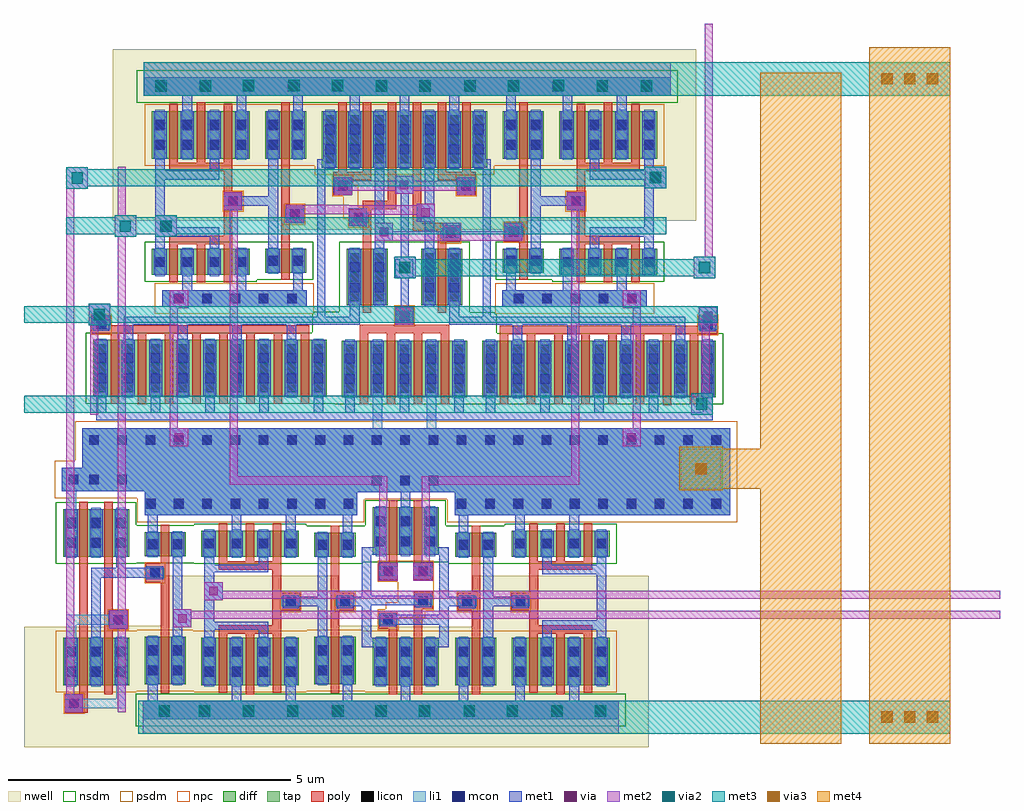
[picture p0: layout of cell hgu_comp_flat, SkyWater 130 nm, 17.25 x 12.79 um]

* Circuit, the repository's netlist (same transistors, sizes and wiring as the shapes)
** sch_path: /foss/designs/hgu_goss/hgu/xschem/hgu_comp.sch
.subckt hgu_comp cdac_vn cdac_vp VSS VDD clk ready comp_outp comp_outn
*.PININFO cdac_vn:I cdac_vp:I VSS:I VDD:I clk:I ready:O comp_outp:O comp_outn:O
XM1 net1 clk VSS VSS sky130_fd_pr__nfet_01v8 L=0.15 W=4 nf=4 m=1
XM4 Y X Q VSS sky130_fd_pr__nfet_01v8 L=0.15 W=1 nf=1 m=1
XM5 X Y P VSS sky130_fd_pr__nfet_01v8 L=0.15 W=1 nf=1 m=1
XM6 X Y VDD VDD sky130_fd_pr__pfet_01v8 L=0.15 W=1 nf=1 m=1
XM7 Y X VDD VDD sky130_fd_pr__pfet_01v8 L=0.15 W=1 nf=1 m=1
XM8 X clk VDD VDD sky130_fd_pr__pfet_01v8 L=0.15 W=1 nf=1 m=1
XM9 P clk VDD VDD sky130_fd_pr__pfet_01v8 L=0.15 W=1 nf=1 m=1
XM10 Y clk VDD VDD sky130_fd_pr__pfet_01v8 L=0.15 W=1 nf=1 m=1
XM11 Q clk VDD VDD sky130_fd_pr__pfet_01v8 L=0.15 W=1 nf=1 m=1
XM16 RS_n RS_p VDD VDD sky130_fd_pr__pfet_01v8 L=0.15 W=0.84 nf=1 m=1
XM17 RS_p RS_n VDD VDD sky130_fd_pr__pfet_01v8 L=0.15 W=0.84 nf=1 m=1
XM19 RS_p Y_inv VSS VSS sky130_fd_pr__nfet_01v8 L=0.15 W=0.84 nf=1 m=1
XM23 RS_n X_inv VSS VSS sky130_fd_pr__nfet_01v8 L=0.15 W=0.84 nf=1 m=1
XM2 P cdac_vp net1 VSS sky130_fd_pr__nfet_01v8 L=0.15 W=8 nf=8 m=1
XM3 Q cdac_vn net1 VSS sky130_fd_pr__nfet_01v8 L=0.15 W=8 nf=8 m=1
XM12 X_inv X VDD VDD sky130_fd_pr__pfet_01v8 L=0.15 W=0.84 nf=1 m=1
XM13 X_inv X VSS VSS sky130_fd_pr__nfet_01v8 L=0.15 W=0.42 nf=1 m=1
XM14 X_drive X_inv VDD VDD sky130_fd_pr__pfet_01v8 L=0.15 W=2.52 nf=3 m=1
XM15 X_drive X_inv VSS VSS sky130_fd_pr__nfet_01v8 L=0.15 W=1.38 nf=3 m=1
XM18 Y_inv Y VDD VDD sky130_fd_pr__pfet_01v8 L=0.15 W=0.84 nf=1 m=1
XM20 Y_inv Y VSS VSS sky130_fd_pr__nfet_01v8 L=0.15 W=0.42 nf=1 m=1
XM21 Y_drive Y_inv VDD VDD sky130_fd_pr__pfet_01v8 L=0.15 W=2.52 nf=3 m=1
XM22 Y_drive Y_inv VSS VSS sky130_fd_pr__nfet_01v8 L=0.15 W=1.38 nf=3 m=1
XM24 net2 Y_drive X_drive VDD sky130_fd_pr__pfet_01v8 L=0.15 W=0.84 nf=1 m=1
XM25 net2 X_drive Y_drive VDD sky130_fd_pr__pfet_01v8 L=0.15 W=0.84 nf=1 m=1
XM26 net2 Y_drive net3 VSS sky130_fd_pr__nfet_01v8 L=0.15 W=0.84 nf=1 m=1
XM27 net3 X_drive VSS VSS sky130_fd_pr__nfet_01v8 L=0.15 W=0.84 nf=1 m=1
XM28 ready net2 VDD VDD sky130_fd_pr__pfet_01v8 L=0.15 W=0.84 nf=1 m=1
XM29 ready net2 VSS VSS sky130_fd_pr__nfet_01v8 L=0.15 W=0.42 nf=1 m=1
XM30 net4 RS_p VDD VDD sky130_fd_pr__pfet_01v8 L=0.15 W=0.84 nf=1 m=1
XM31 net4 RS_p VSS VSS sky130_fd_pr__nfet_01v8 L=0.15 W=0.42 nf=1 m=1
XM32 comp_outp net4 VDD VDD sky130_fd_pr__pfet_01v8 L=0.15 W=2.52 nf=3 m=1
XM33 comp_outp net4 VSS VSS sky130_fd_pr__nfet_01v8 L=0.15 W=1.38 nf=3 m=1
XM34 net5 RS_n VDD VDD sky130_fd_pr__pfet_01v8 L=0.15 W=0.84 nf=1 m=1
XM35 net5 RS_n VSS VSS sky130_fd_pr__nfet_01v8 L=0.15 W=0.42 nf=1 m=1
XM36 comp_outn net5 VDD VDD sky130_fd_pr__pfet_01v8 L=0.15 W=2.52 nf=3 m=1
XM37 comp_outn net5 VSS VSS sky130_fd_pr__nfet_01v8 L=0.15 W=1.38 nf=3 m=1
.ends
.end

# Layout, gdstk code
import gdstk
lib = gdstk.Library(unit=1e-6, precision=1e-09)
def R(c, l, rs):  # rectangles x0, y0, x1, y1
    for r in rs: c.add(gdstk.rectangle(r[:2], r[2:], *l))
def A(c, l, x, y, w, h, nx, ny, dx, dy):  # array of equal rectangles
    R(c, l, [(x+i*dx, y+j*dy, x+i*dx+w, y+j*dy+h) for i in range(nx) for j in range(ny)])
nwell = (64, 20)
diff = (65, 20)
tap = (65, 44)
poly = (66, 20)
licon = (66, 44)
li1 = (67, 20)
mcon = (67, 44)
met1 = (68, 20)
via = (68, 44)
met2 = (69, 20)
via2 = (69, 44)
met3 = (70, 20)
via3 = (70, 44)
met4 = (71, 20)
nsdm = (93, 44)
psdm = (94, 20)
npc = (95, 20)

hgu_comp_flat = lib.new_cell('hgu_comp_flat')
R(hgu_comp_flat, nwell, [(1.69,-9.7,12.73,-7.57), (3.13,-7.57,8.24,-7.55), (9.62,-7.57,12.73,-6.67), (4.13,-7.55,7.24,-6.67), (6.26,-0.55,10.57,-0.39), (3.26,-0.39,13.57,2.64)])
R(hgu_comp_flat, diff, [(2.38,-8.605,3.55,-7.765), (4.82,-8.605,6.55,-7.765), (7.85,-8.605,9.02,-7.765), (9.31,-8.605,10.04,-7.765), (10.31,-8.605,12.04,-7.765), (3.82,-8.585,4.55,-7.745), (6.82,-8.585,7.55,-7.745), (2.38,-6.33,3.55,-5.49), (4.82,-6.33,6.55,-5.87), (6.82,-6.33,7.55,-5.91), (9.31,-6.33,10.04,-5.91), (10.31,-6.33,12.04,-5.87), (3.82,-6.32,4.55,-5.9), (7.85,-6.3,9.02,-5.46), (7.31,-3.51,9.52,-2.51), (9.79,-3.51,13.92,-2.51), (2.91,-3.5,7.04,-2.5), (7.39,-1.89,8.12,-0.89), (8.71,-1.89,9.44,-0.89), (3.95,-1.35,5.68,-0.89), (11.15,-1.35,12.88,-0.89), (5.95,-1.31,6.68,-0.89), (10.15,-1.31,10.88,-0.89), (6.95,0.545,9.88,1.545), (3.95,0.705,5.68,1.545), (5.95,0.705,6.68,1.545), (10.15,0.705,10.88,1.545), (11.15,0.705,12.88,1.545)])
R(hgu_comp_flat, tap, [(3.79,-9.2,12.2,-8.88), (3.82,-5.6,7.58,-5.19), (9.3,-5.6,14.17,-5.19), (3.82,-5.19,14.17,-5.17), (2.36,-5.17,14.17,-4.76), (2.72,-4.76,14.17,-4.06), (4.13,-1.91,6.69,-1.62), (10.14,-1.91,12.7,-1.62), (3.81,1.82,13.12,2.14)])
A(hgu_comp_flat, poly, 5.13, -6.41, 0.15, 0.67, 3, 1, 0.48, 0)
A(hgu_comp_flat, poly, 10.62, -6.41, 0.15, 0.67, 3, 1, 0.48, 0)
A(hgu_comp_flat, poly, 7.62, -3.64, 0.15, 1.26, 4, 1, 0.48, 0)
A(hgu_comp_flat, poly, 10.1, -3.64, 0.15, 1.24, 6, 1, 0.48, 0)
A(hgu_comp_flat, poly, 4.18, -3.63, 0.15, 1.24, 6, 1, 0.48, 0)
A(hgu_comp_flat, poly, 4.26, -1.48, 0.15, 0.67, 3, 1, 0.48, 0)
A(hgu_comp_flat, poly, 11.46, -1.48, 0.15, 0.67, 3, 1, 0.48, 0)
R(hgu_comp_flat, poly, [(2.41,-9.09,2.82,-8.76), (2.67,-8.76,2.82,-5.36), (3.11,-8.76,3.26,-7.61), (5.61,-8.76,5.76,-7.69), (8.14,-8.76,8.29,-7.6), (8.58,-8.76,8.73,-7.26), (9.6,-8.76,9.75,-7.28), (11.1,-8.76,11.25,-7.69), (4.11,-8.74,4.26,-6.78), (7.11,-8.74,7.26,-7.28), (5.13,-8.735,5.28,-7.69), (6.09,-8.735,6.24,-7.69), (10.62,-8.735,10.77,-7.69), (11.58,-8.735,11.73,-7.69), (5.13,-7.69,6.24,-7.54), (10.62,-7.69,11.73,-7.54), (3.11,-7.61,3.52,-7.28), (7.96,-7.6,8.29,-7.29), (6.08,-7.54,6.24,-7.28), (10.62,-7.54,10.78,-7.28), (3.11,-7.28,3.26,-5.36), (6.08,-7.28,6.57,-6.97), (7.11,-7.28,7.53,-6.97), (9.36,-7.28,9.75,-6.97), (10.3,-7.28,10.78,-6.97), (8.58,-7.26,8.91,-6.95), (6.08,-6.97,6.24,-6.56), (7.11,-6.97,7.26,-5.78), (9.6,-6.97,9.75,-5.78), (10.62,-6.97,10.78,-6.56), (3.84,-6.78,4.26,-6.45), (7.96,-6.74,8.29,-6.43), (8.58,-6.74,8.91,-6.43), (5.13,-6.56,6.24,-6.41), (10.62,-6.56,11.73,-6.41), (4.11,-6.45,4.26,-5.77), (8.14,-6.43,8.29,-5.33), (8.58,-6.43,8.73,-5.33), (12.98,-3.65,13.13,-2.4), (3.7,-3.64,3.85,-2.39), (13.46,-3.64,13.61,-2.4), (3.22,-3.63,3.37,-2.39), (10.1,-2.4,13.94,-2.25), (2.89,-2.39,6.73,-2.24), (7.62,-2.38,9.21,-2.23), (13.61,-2.25,13.94,-2.07), (2.89,-2.24,3.22,-2.06), (8.25,-2.23,8.58,-1.92), (7.68,-2.02,7.83,-0.48), (9,-2.02,9.15,-0.76), (6.24,-1.44,6.39,-0.44), (10.44,-1.44,10.59,-0.76), (4.26,-0.81,5.37,-0.66), (11.46,-0.81,12.57,-0.66), (9,-0.76,9.39,-0.75), (10.18,-0.76,10.59,-0.43), (9,-0.75,9.4,-0.58), (5.22,-0.66,5.37,-0.21), (11.46,-0.66,11.61,-0.21), (8.56,-0.58,9.4,-0.47), (7.44,-0.48,7.83,-0.19), (8.56,-0.47,9.16,-0.43), (6.24,-0.44,6.64,-0.11), (8.56,-0.43,8.71,1.7), (10.44,-0.43,10.59,1.7), (5.22,-0.21,5.55,0.12), (11.28,-0.21,11.61,0.12), (7.68,-0.19,8.27,-0.04), (6.24,-0.11,6.39,1.7), (8.12,-0.04,8.27,1.7), (7.16,0.06,7.49,0.32), (9.34,0.06,9.67,0.32), (5.22,0.12,5.37,0.48), (11.46,0.12,11.61,0.48), (7.16,0.32,7.83,0.47), (9,0.32,9.67,0.47), (7.24,0.47,7.39,1.7), (7.68,0.47,7.83,1.7), (9,0.47,9.15,1.7), (9.44,0.47,9.59,1.7), (4.26,0.48,5.37,0.63), (11.46,0.48,12.57,0.63), (4.26,0.63,4.41,1.675), (4.74,0.63,4.89,1.7), (5.22,0.63,5.37,1.675), (11.46,0.63,11.61,1.675), (11.94,0.63,12.09,1.7), (12.42,0.63,12.57,1.675)])
A(hgu_comp_flat, licon, 4.79, -9.13, 0.17, 0.17, 10, 1, 0.78, 0)
A(hgu_comp_flat, licon, 2.44, -8.44, 0.17, 0.17, 3, 2, 0.44, 0.34)
A(hgu_comp_flat, licon, 4.88, -8.44, 0.17, 0.17, 4, 2, 0.48, 0.34)
A(hgu_comp_flat, licon, 7.91, -8.44, 0.17, 0.17, 3, 2, 0.44, 0.34)
A(hgu_comp_flat, licon, 10.37, -8.44, 0.17, 0.17, 4, 2, 0.48, 0.34)
A(hgu_comp_flat, licon, 4.88, -6.185, 0.17, 0.17, 4, 1, 0.48, 0)
A(hgu_comp_flat, licon, 10.37, -6.185, 0.17, 0.17, 4, 1, 0.48, 0)
A(hgu_comp_flat, licon, 2.44, -6.165, 0.17, 0.17, 3, 2, 0.44, 0.34)
A(hgu_comp_flat, licon, 7.91, -6.135, 0.17, 0.17, 3, 2, 0.44, 0.34)
A(hgu_comp_flat, licon, 4.34, -5.48, 0.17, 0.17, 7, 1, 0.5, 0)
A(hgu_comp_flat, licon, 9.34, -5.48, 0.17, 0.17, 10, 1, 0.5, 0)
A(hgu_comp_flat, licon, 7.84, -5.07, 0.17, 0.17, 3, 1, 0.5, 0)
A(hgu_comp_flat, licon, 2.84, -4.35, 0.17, 0.17, 23, 1, 0.5, 0)
A(hgu_comp_flat, licon, 7.37, -3.435, 0.17, 0.17, 5, 3, 0.48, 0.34)
A(hgu_comp_flat, licon, 9.85, -3.435, 0.17, 0.17, 9, 3, 0.48, 0.34)
A(hgu_comp_flat, licon, 2.97, -3.425, 0.17, 0.17, 9, 3, 0.48, 0.34)
A(hgu_comp_flat, licon, 4.34, -1.85, 0.17, 0.17, 5, 1, 0.5, 0)
A(hgu_comp_flat, licon, 10.35, -1.85, 0.17, 0.17, 5, 1, 0.5, 0)
A(hgu_comp_flat, licon, 7.45, -1.815, 0.17, 0.17, 1, 3, 0, 0.34)
A(hgu_comp_flat, licon, 7.89, -1.815, 0.17, 0.17, 1, 3, 0, 0.34)
A(hgu_comp_flat, licon, 8.77, -1.815, 0.17, 0.17, 1, 3, 0, 0.34)
A(hgu_comp_flat, licon, 9.21, -1.815, 0.17, 0.17, 1, 3, 0, 0.34)
A(hgu_comp_flat, licon, 4.01, -1.205, 0.17, 0.17, 4, 2, 0.48, 2.075)
A(hgu_comp_flat, licon, 11.21, -1.205, 0.17, 0.17, 4, 2, 0.48, 2.075)
A(hgu_comp_flat, licon, 7.01, 0.62, 0.17, 0.17, 7, 3, 0.44, 0.34)
A(hgu_comp_flat, licon, 4.01, 1.21, 0.17, 0.17, 4, 1, 0.48, 0)
A(hgu_comp_flat, licon, 11.21, 1.21, 0.17, 0.17, 4, 1, 0.48, 0)
A(hgu_comp_flat, licon, 4.01, 1.89, 0.17, 0.17, 12, 1, 0.78, 0)
R(hgu_comp_flat, licon, [(4.09,-9.13,4.26,-8.96), (2.49,-9.01,2.66,-8.84), (9.37,-8.44,9.54,-8.27), (9.81,-8.44,9.98,-8.27), (3.88,-8.42,4.05,-8.25), (4.32,-8.42,4.49,-8.25), (6.88,-8.42,7.05,-8.25), (7.32,-8.42,7.49,-8.25), (9.37,-8.1,9.54,-7.93), (9.81,-8.1,9.98,-7.93), (3.88,-8.08,4.05,-7.91), (4.32,-8.08,4.49,-7.91), (6.88,-8.08,7.05,-7.91), (7.32,-8.08,7.49,-7.91), (3.27,-7.53,3.44,-7.36), (8.04,-7.53,8.21,-7.36), (6.32,-7.21,6.49,-7.04), (7.28,-7.21,7.45,-7.04), (9.44,-7.21,9.61,-7.04), (10.38,-7.21,10.55,-7.04), (8.66,-7.19,8.83,-7.02), (3.92,-6.7,4.09,-6.53), (8.04,-6.67,8.21,-6.5), (8.66,-6.67,8.83,-6.5), (6.88,-6.205,7.05,-6.035), (7.32,-6.205,7.49,-6.035), (9.37,-6.205,9.54,-6.035), (9.81,-6.205,9.98,-6.035), (3.88,-6.195,4.05,-6.025), (4.32,-6.195,4.49,-6.025), (3.85,-5.48,4.02,-5.31), (2.48,-5.05,2.65,-4.88), (2.84,-5.05,3.01,-4.88), (3.34,-5.05,3.51,-4.88), (13.69,-2.32,13.86,-2.15), (2.97,-2.31,3.14,-2.14), (8.33,-2.16,8.5,-1.99), (6.01,-1.185,6.18,-1.015), (6.45,-1.185,6.62,-1.015), (10.21,-1.185,10.38,-1.015), (10.65,-1.185,10.82,-1.015), (9.15,-0.7,9.32,-0.53), (10.26,-0.68,10.43,-0.51), (7.52,-0.42,7.69,-0.25), (6.39,-0.36,6.56,-0.19), (5.3,-0.13,5.47,0.04), (11.36,-0.13,11.53,0.04), (7.24,0.14,7.41,0.31), (9.42,0.14,9.59,0.31), (6.01,0.87,6.18,1.04), (6.45,0.87,6.62,1.04), (10.21,0.87,10.38,1.04), (10.65,0.87,10.82,1.04), (6.01,1.21,6.18,1.38), (6.45,1.21,6.62,1.38), (10.21,1.21,10.38,1.38), (10.65,1.21,10.82,1.38)])
A(hgu_comp_flat, li1, 4.88, -8.625, 0.17, 0.88, 4, 1, 0.48, 0)
A(hgu_comp_flat, li1, 7.91, -8.625, 0.17, 0.88, 3, 2, 0.44, 2.305)
A(hgu_comp_flat, li1, 10.37, -8.625, 0.17, 0.88, 4, 1, 0.48, 0)
A(hgu_comp_flat, li1, 4.88, -6.35, 0.17, 0.5, 4, 1, 0.48, 0)
A(hgu_comp_flat, li1, 10.37, -6.35, 0.17, 0.5, 4, 1, 0.48, 0)
A(hgu_comp_flat, li1, 7.37, -3.53, 0.17, 1.04, 3, 1, 0.96, 0)
A(hgu_comp_flat, li1, 9.85, -3.53, 0.17, 1.04, 9, 1, 0.48, 0)
A(hgu_comp_flat, li1, 2.97, -3.52, 0.17, 1.04, 9, 1, 0.48, 0)
A(hgu_comp_flat, li1, 4.01, -1.37, 0.17, 0.5, 4, 1, 0.48, 0)
A(hgu_comp_flat, li1, 11.21, -1.37, 0.17, 0.5, 4, 1, 0.48, 0)
A(hgu_comp_flat, li1, 7.01, 0.525, 0.17, 1.04, 7, 1, 0.44, 0)
A(hgu_comp_flat, li1, 4.01, 0.685, 0.17, 0.88, 4, 1, 0.48, 0)
A(hgu_comp_flat, li1, 11.21, 0.685, 0.17, 0.88, 4, 1, 0.48, 0)
R(hgu_comp_flat, li1, [(3.79,-9.2,12.2,-8.88), (2.41,-9.01,3.49,-8.84), (3.32,-8.84,3.49,-7.745), (2.44,-8.625,2.61,-7.53), (2.88,-8.625,3.05,-7.745), (9.37,-8.625,9.54,-7.745), (9.81,-8.625,9.98,-7.745), (3.88,-8.605,4.05,-7.725), (4.32,-8.605,4.49,-7.725), (6.88,-8.605,7.05,-7.725), (7.32,-8.605,7.49,-7.725), (2.44,-7.53,3.52,-7.36), (7.96,-7.53,8.29,-7.36), (6.24,-7.21,6.57,-7.04), (7.2,-7.21,7.53,-7.04), (9.36,-7.21,9.69,-7.04), (10.3,-7.21,10.63,-7.04), (8.58,-7.19,8.91,-7.02), (3.84,-6.7,4.17,-6.53), (7.96,-6.67,8.29,-6.5), (8.58,-6.67,8.91,-6.5), (2.44,-6.35,2.61,-5.17), (2.88,-6.35,3.05,-5.47), (3.32,-6.35,3.49,-5.47), (6.88,-6.35,7.05,-5.89), (7.32,-6.35,7.49,-5.89), (9.37,-6.35,9.54,-5.89), (9.81,-6.35,9.98,-5.89), (3.88,-6.34,4.05,-5.88), (4.32,-6.34,4.49,-5.88), (9.37,-5.61,9.54,-5.6), (3.82,-5.6,7.58,-5.19), (9.3,-5.6,14.17,-5.19), (3.82,-5.19,14.17,-5.17), (2.36,-5.17,14.17,-4.76), (2.72,-4.76,14.17,-4.06), (7.85,-4.06,8.02,-2.49), (8.81,-4.06,8.98,-2.49), (13.61,-2.32,13.94,-2.15), (2.89,-2.31,3.22,-2.14), (8.25,-2.16,8.58,-1.99), (4.13,-1.91,6.69,-1.62), (7.45,-1.91,7.62,-0.87), (7.89,-1.91,8.06,-0.87), (8.77,-1.91,8.94,-0.87), (9.21,-1.91,9.38,-0.87), (10.14,-1.91,12.7,-1.62), (6.01,-1.33,6.18,-0.87), (6.45,-1.33,6.62,-0.87), (10.21,-1.33,10.38,-0.87), (10.65,-1.33,10.82,-0.87), (9.06,-0.7,9.4,-0.53), (10.18,-0.68,10.51,-0.51), (7.44,-0.42,7.77,-0.25), (6.31,-0.36,6.64,-0.19), (5.22,-0.13,5.55,0.04), (11.28,-0.13,11.61,0.04), (7.16,0.14,7.49,0.31), (9.34,0.14,9.67,0.31), (6.01,0.685,6.18,1.565), (6.45,0.685,6.62,1.565), (10.21,0.685,10.38,1.565), (10.65,0.685,10.82,1.565), (3.81,1.82,13.12,2.14)])
A(hgu_comp_flat, mcon, 4.79, -9.13, 0.17, 0.17, 10, 1, 0.78, 0)
A(hgu_comp_flat, mcon, 2.44, -8.45, 0.17, 0.17, 3, 2, 0.44, 0.36)
A(hgu_comp_flat, mcon, 4.88, -8.45, 0.17, 0.17, 4, 2, 0.48, 0.36)
A(hgu_comp_flat, mcon, 7.91, -8.45, 0.17, 0.17, 3, 2, 0.44, 0.36)
A(hgu_comp_flat, mcon, 10.37, -8.45, 0.17, 0.17, 4, 2, 0.48, 0.36)
A(hgu_comp_flat, mcon, 4.88, -6.185, 0.17, 0.17, 4, 1, 0.48, 0)
A(hgu_comp_flat, mcon, 10.37, -6.185, 0.17, 0.17, 4, 1, 0.48, 0)
A(hgu_comp_flat, mcon, 2.44, -6.175, 0.17, 0.17, 3, 2, 0.44, 0.36)
A(hgu_comp_flat, mcon, 7.91, -6.145, 0.17, 0.17, 3, 2, 0.44, 0.36)
A(hgu_comp_flat, mcon, 4.34, -5.48, 0.17, 0.17, 7, 1, 0.5, 0)
A(hgu_comp_flat, mcon, 9.34, -5.48, 0.17, 0.17, 10, 1, 0.5, 0)
A(hgu_comp_flat, mcon, 7.84, -5.07, 0.17, 0.17, 3, 1, 0.5, 0)
A(hgu_comp_flat, mcon, 2.84, -4.35, 0.17, 0.17, 23, 1, 0.5, 0)
A(hgu_comp_flat, mcon, 7.37, -3.275, 0.17, 0.17, 5, 2, 0.48, 0.36)
A(hgu_comp_flat, mcon, 9.85, -3.275, 0.17, 0.17, 9, 2, 0.48, 0.36)
A(hgu_comp_flat, mcon, 2.97, -3.265, 0.17, 0.17, 9, 2, 0.48, 0.36)
A(hgu_comp_flat, mcon, 4.34, -1.85, 0.17, 0.17, 5, 1, 0.5, 0)
A(hgu_comp_flat, mcon, 10.35, -1.85, 0.17, 0.17, 5, 1, 0.5, 0)
A(hgu_comp_flat, mcon, 4.01, -1.205, 0.17, 0.17, 4, 2, 0.48, 2.065)
A(hgu_comp_flat, mcon, 11.21, -1.205, 0.17, 0.17, 4, 2, 0.48, 2.065)
A(hgu_comp_flat, mcon, 7.01, 0.78, 0.17, 0.17, 7, 2, 0.44, 0.36)
A(hgu_comp_flat, mcon, 4.01, 1.22, 0.17, 0.17, 4, 1, 0.48, 0)
A(hgu_comp_flat, mcon, 11.21, 1.22, 0.17, 0.17, 4, 1, 0.48, 0)
A(hgu_comp_flat, mcon, 4.01, 1.89, 0.17, 0.17, 12, 1, 0.78, 0)
R(hgu_comp_flat, mcon, [(4.09,-9.13,4.26,-8.96), (2.49,-9.01,2.66,-8.84), (9.37,-8.45,9.54,-8.28), (9.81,-8.45,9.98,-8.28), (3.88,-8.43,4.05,-8.26), (4.32,-8.43,4.49,-8.26), (6.88,-8.43,7.05,-8.26), (7.32,-8.43,7.49,-8.26), (9.37,-8.09,9.54,-7.92), (9.81,-8.09,9.98,-7.92), (3.88,-8.07,4.05,-7.9), (4.32,-8.07,4.49,-7.9), (6.88,-8.07,7.05,-7.9), (7.32,-8.07,7.49,-7.9), (3.27,-7.53,3.44,-7.36), (8.04,-7.53,8.21,-7.36), (6.32,-7.21,6.49,-7.04), (7.28,-7.21,7.45,-7.04), (9.44,-7.21,9.61,-7.04), (10.38,-7.21,10.55,-7.04), (8.66,-7.19,8.83,-7.02), (3.92,-6.7,4.09,-6.53), (8.04,-6.67,8.21,-6.5), (8.66,-6.67,8.83,-6.5), (6.88,-6.205,7.05,-6.035), (7.32,-6.205,7.49,-6.035), (9.37,-6.205,9.54,-6.035), (9.81,-6.205,9.98,-6.035), (3.88,-6.195,4.05,-6.025), (4.32,-6.195,4.49,-6.025), (3.85,-5.48,4.02,-5.31), (2.48,-5.05,2.65,-4.88), (2.84,-5.05,3.01,-4.88), (3.34,-5.05,3.51,-4.88), (13.69,-2.32,13.86,-2.15), (2.97,-2.31,3.14,-2.14), (8.33,-2.16,8.5,-1.99), (7.45,-1.655,7.62,-1.485), (7.89,-1.655,8.06,-1.485), (8.77,-1.655,8.94,-1.485), (9.21,-1.655,9.38,-1.485), (7.45,-1.295,7.62,-1.125), (7.89,-1.295,8.06,-1.125), (8.77,-1.295,8.94,-1.125), (9.21,-1.295,9.38,-1.125), (6.01,-1.185,6.18,-1.015), (6.45,-1.185,6.62,-1.015), (10.21,-1.185,10.38,-1.015), (10.65,-1.185,10.82,-1.015), (9.15,-0.7,9.32,-0.53), (10.26,-0.68,10.43,-0.51), (7.52,-0.42,7.69,-0.25), (6.39,-0.36,6.56,-0.19), (5.3,-0.13,5.47,0.04), (11.36,-0.13,11.53,0.04), (7.24,0.14,7.41,0.31), (9.42,0.14,9.59,0.31), (6.01,0.86,6.18,1.03), (6.45,0.86,6.62,1.03), (10.21,0.86,10.38,1.03), (10.65,0.86,10.82,1.03), (6.01,1.22,6.18,1.39), (6.45,1.22,6.62,1.39), (10.21,1.22,10.38,1.39), (10.65,1.22,10.82,1.39)])
A(hgu_comp_flat, met1, 2.41, -8.605, 0.23, 0.84, 3, 2, 0.44, 2.275)
A(hgu_comp_flat, met1, 4.85, -8.605, 0.23, 0.84, 4, 1, 0.48, 0)
A(hgu_comp_flat, met1, 10.34, -8.605, 0.23, 0.84, 4, 1, 0.48, 0)
A(hgu_comp_flat, met1, 4.85, -6.33, 0.23, 0.46, 4, 1, 0.48, 0)
A(hgu_comp_flat, met1, 10.34, -6.33, 0.23, 0.46, 4, 1, 0.48, 0)
A(hgu_comp_flat, met1, 2.97, -3.78, 0.17, 0.28, 5, 1, 0.96, 0)
A(hgu_comp_flat, met1, 7.37, -3.78, 0.17, 0.27, 3, 1, 0.96, 0)
A(hgu_comp_flat, met1, 9.85, -3.78, 0.17, 0.27, 5, 1, 0.96, 0)
A(hgu_comp_flat, met1, 7.34, -3.51, 0.23, 1, 5, 1, 0.48, 0)
A(hgu_comp_flat, met1, 9.82, -3.51, 0.23, 1, 9, 1, 0.48, 0)
A(hgu_comp_flat, met1, 2.94, -3.5, 0.23, 1, 9, 1, 0.48, 0)
A(hgu_comp_flat, met1, 10.33, -2.51, 0.17, 0.28, 4, 1, 0.96, 0)
A(hgu_comp_flat, met1, 3.45, -2.5, 0.17, 0.27, 4, 1, 0.96, 0)
A(hgu_comp_flat, met1, 3.98, -1.35, 0.23, 0.46, 4, 1, 0.48, 0)
A(hgu_comp_flat, met1, 11.18, -1.35, 0.23, 0.46, 4, 1, 0.48, 0)
A(hgu_comp_flat, met1, 7.42, 0.545, 0.23, 1, 5, 1, 0.44, 0)
A(hgu_comp_flat, met1, 3.98, 0.705, 0.23, 0.84, 4, 1, 0.48, 0)
A(hgu_comp_flat, met1, 11.18, 0.705, 0.23, 0.84, 4, 1, 0.48, 0)
A(hgu_comp_flat, met1, 5.45, 1.545, 0.17, 0.275, 3, 1, 1, 0)
A(hgu_comp_flat, met1, 9.21, 1.545, 0.17, 0.275, 3, 1, 1, 0)
R(hgu_comp_flat, met1, [(3.79,-9.2,12.2,-8.88), (2.41,-9.08,2.73,-8.76), (3.88,-8.88,4.05,-8.585), (5.36,-8.88,5.53,-8.605), (6.32,-8.88,6.49,-8.605), (7.32,-8.88,7.49,-8.585), (8.35,-8.88,8.52,-8.605), (9.37,-8.88,9.54,-8.605), (10.37,-8.88,10.54,-8.605), (11.33,-8.88,11.5,-8.605), (7.88,-8.605,8.11,-7.93), (8.32,-8.605,8.55,-7.765), (8.76,-8.605,8.99,-7.93), (9.34,-8.605,9.57,-7.765), (9.78,-8.605,10.01,-7.765), (3.85,-8.585,4.08,-7.745), (4.29,-8.585,4.52,-7.745), (6.85,-8.585,7.08,-7.745), (7.29,-8.585,7.52,-7.745), (7.66,-7.93,8.11,-7.765), (8.76,-7.93,9.2,-7.76), (2.88,-7.765,3.05,-6.7), (4.88,-7.765,5.05,-7.62), (5.84,-7.765,6.01,-7.62), (7.66,-7.765,8.08,-7.76), (9.81,-7.765,9.98,-7.21), (10.85,-7.765,11.02,-7.62), (11.81,-7.765,11.98,-7.62), (7.66,-7.76,7.83,-7.21), (9.03,-7.76,9.2,-7.53), (4.32,-7.745,4.49,-7.58), (6.88,-7.745,7.05,-7.21), (4.88,-7.62,6.01,-7.48), (10.85,-7.62,11.98,-7.45), (3.2,-7.6,3.52,-7.56), (4.32,-7.58,4.65,-7.26), (3.19,-7.56,3.52,-7.29), (7.98,-7.56,8.27,-7.53), (7.98,-7.53,9.2,-7.36), (4.88,-7.48,5.05,-7.1), (11.81,-7.45,11.98,-6.64), (7.98,-7.36,8.27,-7.33), (9.03,-7.36,9.2,-7.21), (3.2,-7.29,3.52,-7.28), (4.32,-7.26,4.49,-6.32), (6.26,-7.24,6.55,-7.21), (7.22,-7.24,7.51,-7.21), (9.38,-7.24,9.67,-7.21), (10.32,-7.24,10.61,-7.21), (8.6,-7.22,8.89,-7.19), (6.26,-7.21,7.05,-7.04), (7.22,-7.21,7.83,-7.19), (9.03,-7.21,9.67,-7.04), (9.81,-7.21,10.61,-7.04), (7.22,-7.19,8.89,-7.04), (4.88,-7.1,5.2,-6.78), (6.26,-7.04,6.55,-7.01), (6.88,-7.04,7.05,-6.33), (7.22,-7.04,7.51,-7.01), (7.66,-7.04,8.89,-7.02), (9.03,-7.04,9.2,-6.3), (9.38,-7.04,9.67,-7.01), (9.81,-7.04,9.98,-6.33), (10.32,-7.04,10.61,-7.01), (7.66,-7.02,7.83,-6.3), (8.6,-7.02,8.89,-6.99), (4.88,-6.78,5.05,-6.61), (7.98,-6.76,8.3,-6.44), (8.57,-6.76,8.89,-6.44), (3.84,-6.73,4.15,-6.7), (2.88,-6.7,4.15,-6.53), (10.85,-6.64,11.98,-6.47), (4.88,-6.61,6.01,-6.47), (3.32,-6.53,3.49,-6.33), (3.84,-6.53,4.15,-6.5), (4.88,-6.47,5.05,-6.33), (5.84,-6.47,6.01,-6.33), (10.85,-6.47,11.02,-6.33), (11.81,-6.47,11.98,-6.33), (6.85,-6.33,7.08,-5.91), (7.29,-6.33,7.52,-5.91), (9.34,-6.33,9.57,-5.91), (9.78,-6.33,10.01,-5.91), (3.85,-6.32,4.08,-5.9), (4.29,-6.32,4.52,-5.9), (7.66,-6.3,8.11,-6.16), (8.32,-6.3,8.55,-5.46), (8.76,-6.3,9.2,-6.16), (7.88,-6.16,8.11,-5.46), (8.76,-6.16,8.99,-5.46), (7.32,-5.91,7.49,-5.6), (9.37,-5.91,9.54,-5.6), (3.88,-5.9,4.05,-5.6), (5.36,-5.87,5.53,-5.6), (6.32,-5.87,6.49,-5.6), (10.37,-5.87,10.54,-5.6), (11.33,-5.87,11.5,-5.6), (3.82,-5.6,7.58,-5.19), (9.3,-5.6,14.17,-5.19), (8.35,-5.46,8.52,-5.19), (3.82,-5.19,14.17,-5.17), (2.36,-5.17,14.17,-4.76), (2.72,-4.76,14.17,-4.06), (2.97,-3.92,13.86,-3.78), (13.63,-2.35,13.92,-2.24), (2.91,-2.34,3.2,-2.24), (2.83,-2.24,3.21,-1.86), (13.62,-2.24,13.94,-1.92), (3.45,-2.23,7.62,-2.09), (8.25,-2.23,8.57,-1.91), (9.21,-2.23,13.38,-2.09), (6.87,-2.09,7.01,0.545), (7.45,-2.09,7.62,-1.89), (9.21,-2.09,9.38,-1.89), (9.8,-2.09,9.94,0.545), (12.27,-1.94,12.59,-1.91), (4.13,-1.91,6.69,-1.62), (8.35,-1.91,8.49,-1.39), (10.14,-1.91,12.7,-1.62), (7.42,-1.89,7.65,-0.89), (7.86,-1.89,8.09,-0.89), (8.74,-1.89,8.97,-0.89), (9.18,-1.89,9.41,-0.89), (4.49,-1.62,4.66,-1.35), (5.45,-1.62,5.62,-1.35), (6.45,-1.62,6.62,-1.31), (10.21,-1.62,10.38,-1.31), (11.21,-1.62,11.38,-1.35), (12.17,-1.62,12.34,-1.35), (8.25,-1.39,8.57,-1.07), (5.98,-1.31,6.21,-0.89), (6.42,-1.31,6.65,-0.89), (10.18,-1.31,10.41,-0.89), (10.62,-1.31,10.85,-0.89), (8.35,-1.07,8.49,0.08), (4.01,-0.89,4.18,-0.68), (4.97,-0.89,5.14,-0.68), (6.01,-0.89,6.18,-0.13), (7.89,-0.89,8.06,-0.75), (8.77,-0.89,8.94,-0.41), (10.65,-0.89,10.82,-0.13), (11.69,-0.89,11.86,-0.68), (12.65,-0.89,12.82,-0.68), (7.89,-0.75,8.21,-0.43), (9.09,-0.75,9.41,-0.43), (10.18,-0.75,10.5,-0.43), (4.01,-0.68,5.14,-0.51), (11.69,-0.68,12.82,-0.51), (4.01,-0.51,4.39,-0.3), (12.65,-0.51,12.82,0.18), (7.43,-0.49,7.75,-0.17), (6.32,-0.43,6.64,-0.11), (7.89,-0.43,8.06,0.545), (8.63,-0.41,8.95,-0.09), (4.01,-0.3,4.18,0.33), (5.22,-0.21,5.54,-0.13), (11.28,-0.21,11.6,-0.13), (5.22,-0.13,6.18,0.04), (10.65,-0.13,11.6,0.04), (8.77,-0.09,8.94,0.545), (5.22,0.04,5.54,0.11), (6.01,0.04,6.18,0.705), (10.65,0.04,10.82,0.705), (11.28,0.04,11.6,0.11), (7.17,0.06,7.49,0.11), (9.34,0.06,9.66,0.38), (8.25,0.08,8.57,0.4), (7.16,0.11,7.49,0.34), (12.65,0.18,13.04,0.33), (4.01,0.33,5.14,0.5), (11.69,0.33,13.04,0.5), (7.17,0.34,7.49,0.38), (4.01,0.5,4.18,0.705), (4.97,0.5,5.14,0.705), (11.69,0.5,11.86,0.705), (12.65,0.5,13.04,0.56), (6.87,0.545,7.21,0.69), (9.62,0.545,9.94,0.69), (12.65,0.56,12.82,0.705), (6.98,0.69,7.21,1.545), (9.62,0.69,9.85,1.545), (5.98,0.705,6.21,1.545), (6.42,0.705,6.65,1.545), (10.18,0.705,10.41,1.545), (10.62,0.705,10.85,1.545), (4.49,1.545,4.66,1.82), (8.33,1.545,8.5,1.82), (12.17,1.545,12.34,1.82), (3.81,1.82,13.12,2.14)])
A(hgu_comp_flat, via, 4.795, -9.105, 0.15, 0.15, 3, 1, 0.78, 0)
R(hgu_comp_flat, via, [(4.095,-9.115,4.245,-8.965), (10.235,-9.115,10.385,-8.965), (7.155,-9.105,7.305,-8.955), (7.915,-9.105,8.065,-8.955), (8.685,-9.105,8.835,-8.955), (9.475,-9.105,9.625,-8.955), (11.025,-9.105,11.175,-8.955), (11.795,-9.105,11.945,-8.955), (2.495,-8.995,2.645,-8.845), (3.285,-7.515,3.435,-7.365), (4.415,-7.495,4.565,-7.345), (4.965,-7.015,5.115,-6.865), (8.065,-6.675,8.215,-6.525), (8.655,-6.675,8.805,-6.525), (13.58,-4.85,13.73,-4.7), (4.355,-4.295,4.505,-4.145), (12.355,-4.295,12.505,-4.145), (2.945,-2.155,3.095,-2.005), (13.705,-2.155,13.855,-2.005), (8.335,-2.145,8.485,-1.995), (4.355,-1.855,4.505,-1.705), (12.355,-1.855,12.505,-1.705), (8.335,-1.305,8.485,-1.155), (7.975,-0.665,8.125,-0.515), (9.175,-0.665,9.325,-0.515), (10.265,-0.665,10.415,-0.515), (4.125,-0.565,4.275,-0.415), (7.515,-0.405,7.665,-0.255), (6.405,-0.345,6.555,-0.195), (8.715,-0.325,8.865,-0.175), (5.305,-0.125,5.455,0.025), (11.365,-0.125,11.515,0.025), (7.255,0.145,7.405,0.295), (9.425,0.145,9.575,0.295), (8.335,0.165,8.485,0.315), (12.775,0.295,12.925,0.445), (4.025,1.905,4.175,2.055), (4.815,1.905,4.965,2.055), (7.925,1.905,8.075,2.055), (8.695,1.905,8.845,2.055), (9.485,1.905,9.635,2.055), (10.255,1.905,10.405,2.055), (11.825,1.905,11.975,2.055), (12.605,1.905,12.755,2.055), (5.575,1.915,5.725,2.065), (6.375,1.915,6.525,2.065), (7.145,1.915,7.295,2.065), (11.055,1.915,11.205,2.065)])
R(hgu_comp_flat, met2, [(3.79,-9.46,12.2,-8.88), (2.41,-9.08,2.73,-8.76), (3.35,-9.08,3.49,-7.6), (2.44,-8.76,2.58,0.17), (3.2,-7.6,3.52,-7.28), (4.33,-7.58,4.65,-7.43), (4.33,-7.43,18.94,-7.29), (4.33,-7.29,4.65,-7.26), (3.35,-7.28,3.49,-0.68), (4.88,-7.1,5.2,-7.07), (4.88,-7.07,18.94,-6.93), (4.88,-6.93,5.2,-6.78), (7.95,-6.76,8.3,-6.44), (8.57,-6.76,8.92,-6.44), (7.97,-6.44,8.15,-6.43), (8.72,-6.44,8.86,-5.06), (7.97,-6.43,8.11,-5.06), (13.3,-5.13,14.01,-4.42), (5.33,-5.06,8.11,-4.91), (8.72,-5.06,11.5,-4.91), (5.33,-4.91,5.47,-0.21), (11.36,-4.91,11.5,-0.21), (4.27,-4.38,4.59,-4.06), (12.27,-4.38,12.59,-4.06), (4.27,-4.06,4.41,-1.94), (12.45,-4.06,12.59,-1.94), (2.86,-3.82,3,-2.24), (13.48,-3.82,13.86,-3.44), (13.67,-3.44,13.81,-2.24), (2.83,-2.24,3.21,-1.86), (13.62,-2.24,13.94,-1.92), (8.25,-2.23,8.57,-1.91), (4.27,-1.94,4.59,-1.62), (12.27,-1.94,12.59,-1.62), (8.23,-1.41,8.61,-1.03), (13.53,-1.41,13.91,-1.03), (13.72,-1.03,13.86,3.09), (7.89,-0.75,10.5,-0.58), (3.29,-0.68,3.67,-0.3), (4.01,-0.68,4.39,-0.3), (7.89,-0.58,8.21,-0.43), (9.09,-0.58,9.41,-0.43), (10.18,-0.58,10.5,-0.43), (7.43,-0.49,7.75,-0.35), (6.32,-0.43,6.64,-0.28), (8.63,-0.41,8.95,-0.29), (7.43,-0.35,7.77,-0.29), (3.35,-0.3,3.49,0.56), (7.43,-0.29,8.95,-0.28), (6.32,-0.28,8.95,-0.12), (5.22,-0.21,5.54,0.11), (11.28,-0.21,11.6,0.11), (6.32,-0.12,7.43,-0.11), (8.63,-0.12,8.95,-0.09), (7.17,0.06,7.49,0.14), (9.34,0.06,9.66,0.14), (8.25,0.08,8.57,0.14), (7.17,0.14,9.66,0.31), (2.44,0.17,2.82,0.55), (12.66,0.18,13.04,0.56), (7.17,0.31,7.49,0.38), (8.25,0.31,8.57,0.4), (9.34,0.31,9.66,0.38), (3.81,1.82,13.12,2.41)])
A(hgu_comp_flat, via2, 4.78, -9.16, 0.2, 0.2, 3, 1, 0.78, 0)
R(hgu_comp_flat, via2, [(4.07,-9.16,4.27,-8.96), (7.14,-9.16,7.34,-8.96), (7.9,-9.16,8.1,-8.96), (8.67,-9.16,8.87,-8.96), (9.46,-9.16,9.66,-8.96), (10.22,-9.16,10.42,-8.96), (11.01,-9.16,11.21,-8.96), (11.78,-9.16,11.98,-8.96), (13.555,-4.875,13.755,-4.675), (13.57,-3.73,13.77,-3.53), (2.92,-2.15,3.12,-1.95), (8.32,-1.32,8.52,-1.12), (13.62,-1.32,13.82,-1.12), (3.38,-0.59,3.58,-0.39), (4.1,-0.59,4.3,-0.39), (2.53,0.26,2.73,0.46), (12.75,0.27,12.95,0.47), (4.01,1.89,4.21,2.09), (4.8,1.89,5,2.09), (7.91,1.89,8.11,2.09), (8.68,1.89,8.88,2.09), (9.47,1.89,9.67,2.09), (10.24,1.89,10.44,2.09), (11.81,1.89,12.01,2.09), (12.59,1.89,12.79,2.09), (5.56,1.9,5.76,2.1), (6.36,1.9,6.56,2.1), (7.13,1.9,7.33,2.1), (11.04,1.9,11.24,2.1)])
R(hgu_comp_flat, met3, [(3.71,-9.46,18.06,-8.88), (13.27,-5.16,14.04,-4.39), (13.48,-3.82,13.86,-3.79), (1.69,-3.79,13.86,-3.49), (13.48,-3.49,13.86,-3.44), (2.83,-2.24,3.21,-2.2), (1.69,-2.2,13.95,-1.9), (2.83,-1.9,3.21,-1.86), (8.23,-1.41,8.61,-1.37), (13.53,-1.41,13.91,-1.37), (8.23,-1.37,13.91,-1.07), (8.23,-1.07,8.61,-1.03), (13.53,-1.07,13.91,-1.03), (3.29,-0.68,3.67,-0.63), (4.01,-0.68,4.39,-0.63), (2.44,-0.63,13.04,-0.33), (3.29,-0.33,3.67,-0.3), (4.01,-0.33,4.39,-0.3), (2.44,0.17,2.82,0.22), (12.66,0.18,13.04,0.22), (2.44,0.22,13.04,0.52), (2.44,0.52,2.82,0.55), (12.66,0.52,13.04,0.56), (3.81,1.82,18.06,2.41)])
A(hgu_comp_flat, via3, 16.845, -9.265, 0.2, 0.2, 3, 2, 0.4, 11.28)
R(hgu_comp_flat, via3, [(13.555,-4.875,13.755,-4.675)])
R(hgu_comp_flat, met4, [(14.7,-9.64,16.13,-5.13), (16.63,-9.64,18.06,2.67), (13.27,-5.16,14.04,-5.13), (13.27,-5.13,16.13,-4.42), (13.27,-4.42,14.04,-4.39), (14.7,-4.42,16.13,2.22)])
R(hgu_comp_flat, nsdm, [(3.665,-9.325,12.325,-8.755), (2.255,-6.455,3.675,-6.445), (4.695,-6.455,7.675,-6.445), (9.185,-6.455,12.165,-6.425), (2.255,-6.445,7.675,-6.425), (2.255,-6.425,12.165,-5.785), (2.255,-5.785,6.675,-5.775), (7.725,-5.785,9.145,-5.335), (10.185,-5.785,12.165,-5.745), (2.255,-5.775,3.675,-5.365), (4.695,-5.775,6.675,-5.745), (7.185,-3.635,14.045,-3.625), (2.785,-3.625,14.045,-2.385), (2.785,-2.385,10.045,-2.375), (6.785,-2.375,10.045,-2.035), (6.815,-2.035,10.015,-2.01), (6.815,-2.01,9.565,-2.005), (7.265,-2.005,9.565,-0.765), (3.825,-1.475,5.805,-1.435), (11.025,-1.475,13.005,-1.435), (3.825,-1.435,6.805,-0.765), (10.025,-1.435,13.005,-0.765), (3.685,1.695,13.245,2.265)])
R(hgu_comp_flat, psdm, [(2.255,-8.73,3.675,-8.71), (4.695,-8.73,6.675,-8.71), (7.725,-8.73,12.165,-8.71), (2.255,-8.71,12.165,-7.64), (3.695,-7.64,4.675,-7.62), (6.695,-7.64,7.675,-7.62), (3.695,-5.725,7.705,-5.315), (9.175,-5.725,14.295,-5.315), (3.695,-5.315,14.295,-5.295), (2.235,-5.295,14.295,-4.635), (2.595,-4.635,14.295,-3.935), (4.005,-2.035,6.815,-1.495), (10.015,-2.035,12.825,-1.495), (6.825,0.42,10.005,0.58), (3.825,0.58,13.005,1.67)])
R(hgu_comp_flat, npc, [(2.39,-9.11,2.76,-8.74), (3.17,-7.63,3.54,-7.26), (7.94,-7.63,8.31,-7.41), (7.94,-7.41,8.785,-7.29), (6.22,-7.31,6.59,-6.94), (7.18,-7.31,7.55,-6.94), (9.34,-7.31,9.71,-6.94), (10.28,-7.31,10.65,-6.94), (7.94,-7.29,8.93,-7.26), (8.085,-7.26,8.93,-7.14), (8.3,-7.14,8.93,-6.77), (3.82,-6.8,4.19,-6.43), (7.94,-6.77,8.93,-6.4), (13.59,-2.42,13.96,-2.05), (2.87,-2.41,3.24,-2.04), (8.23,-2.26,8.6,-1.89), (9.05,-0.8,9.42,-0.43), (10.16,-0.78,10.53,-0.41), (7.42,-0.52,7.79,-0.355), (6.29,-0.46,6.66,-0.09), (7.33,-0.355,7.79,-0.15), (5.2,-0.23,5.57,0.14), (11.26,-0.23,11.63,0.14), (7.33,-0.15,7.6,0.04), (7.14,0.04,7.6,0.245), (9.32,0.04,9.69,0.41), (7.14,0.245,7.51,0.41)])

lib.write_gds('hgu_comp_flat.gds')
